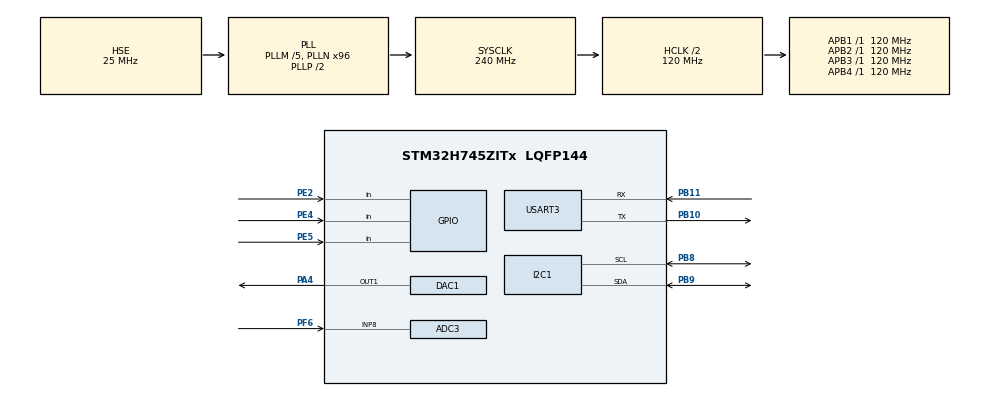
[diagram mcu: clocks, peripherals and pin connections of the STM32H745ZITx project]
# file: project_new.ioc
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ADC3.Channel-0\#ChannelRegularConversion=ADC_CHANNEL_8
ADC3.ExternalTrigConv=ADC_EXTERNALTRIG_T6_TRGO
ADC3.NbrOfConversionFlag=1
ADC3.OffsetNumber-0\#ChannelRegularConversion=ADC_OFFSET_NONE
ADC3.OffsetSignedSaturation-0\#ChannelRegularConversion=DISABLE
ADC3.Rank-0\#ChannelRegularConversion=1
ADC3.SamplingTime-0\#ChannelRegularConversion=ADC_SAMPLETIME_8CYCLES_5
CORTEX_M7.default_mode_Activation=1
CortexM4.IPs=BDMA,CORTEX_M4\:I,DMA,FATFS_M4\:I,FREERTOS_M4\:I,GPIO,IWDG2\:I,MDMA,NVIC2\:I,OPENAMP_M4\:I,PDM2PCM_M4\:I,PWR,RCC,RESMGR_UTILITY,SYS_M4\:I,USB_DEVICE_M4\:I,USB_HOST_M4\:I,VREFBUF,WWDG2\:I
CortexM7.IPs=BDMA\:I,CORTEX_M7\:I,DMA\:I,FATFS_M7\:I,FREERTOS_M7\:I,GPIO\:I,IWDG1\:I,MDMA\:I,NVIC1\:I,OPENAMP_M7\:I,PDM2PCM_M7\:I,PWR\:I,RCC\:I,RESMGR_UTILITY\:I,SYS\:I,USB_DEVICE_M7\:I,USB_HOST_M7\:I,VREFBUF\:I,WWDG1\:I,MEMORYMAP\:I,ADC3\:I,TIM6\:I,TIM7\:I,I2C1\:I,DAC1\:I,DEBUG\:I,USART3\:I
DAC1.DAC_Channel-DAC_OUT1_ExtAndInt=DAC_CHANNEL_1
DAC1.DAC_Trigger-DAC_OUT1_ExtAndInt=DAC_TRIGGER_T7_TRGO
Dma.ADC3.1.Direction=DMA_PERIPH_TO_MEMORY
Dma.ADC3.1.EventEnable=DISABLE
Dma.ADC3.1.FIFOMode=DMA_FIFOMODE_DISABLE
Dma.ADC3.1.Instance=DMA2_Stream0
Dma.ADC3.1.MemDataAlignment=DMA_MDATAALIGN_HALFWORD
Dma.ADC3.1.MemInc=DMA_MINC_ENABLE
Dma.ADC3.1.Mode=DMA_CIRCULAR
Dma.ADC3.1.PeriphDataAlignment=DMA_PDATAALIGN_HALFWORD
Dma.ADC3.1.PeriphInc=DMA_PINC_DISABLE
Dma.ADC3.1.Polarity=HAL_DMAMUX_REQ_GEN_RISING
Dma.ADC3.1.Priority=DMA_PRIORITY_HIGH
Dma.ADC3.1.RequestNumber=1
Dma.ADC3.1.SignalID=NONE
Dma.ADC3.1.SyncEnable=DISABLE
Dma.ADC3.1.SyncPolarity=HAL_DMAMUX_SYNC_NO_EVENT
Dma.ADC3.1.SyncRequestNumber=1
Dma.ADC3.1.SyncSignalID=NONE
Dma.DAC1_CH1.0.Direction=DMA_MEMORY_TO_PERIPH
Dma.DAC1_CH1.0.EventEnable=DISABLE
Dma.DAC1_CH1.0.FIFOMode=DMA_FIFOMODE_DISABLE
Dma.DAC1_CH1.0.Instance=DMA2_Stream1
Dma.DAC1_CH1.0.MemDataAlignment=DMA_MDATAALIGN_HALFWORD
Dma.DAC1_CH1.0.MemInc=DMA_MINC_ENABLE
Dma.DAC1_CH1.0.Mode=DMA_CIRCULAR
Dma.DAC1_CH1.0.PeriphDataAlignment=DMA_PDATAALIGN_HALFWORD
Dma.DAC1_CH1.0.PeriphInc=DMA_PINC_DISABLE
Dma.DAC1_CH1.0.Polarity=HAL_DMAMUX_REQ_GEN_RISING
Dma.DAC1_CH1.0.Priority=DMA_PRIORITY_HIGH
Dma.DAC1_CH1.0.RequestNumber=1
Dma.DAC1_CH1.0.SignalID=NONE
Dma.DAC1_CH1.0.SyncEnable=DISABLE
Dma.DAC1_CH1.0.SyncPolarity=HAL_DMAMUX_SYNC_NO_EVENT
Dma.DAC1_CH1.0.SyncRequestNumber=1
Dma.DAC1_CH1.0.SyncSignalID=NONE
Dma.Request0=DAC1_CH1
Dma.Request1=ADC3
I2C1.Timing=0x109093DC
Mcu.Family=STM32H7
Mcu.Name=STM32H745ZITx
Mcu.Package=LQFP144
NVIC1.DMA2_Stream0_IRQn=true\:0\:0\:false\:false\:true\:false\:true\:true
NVIC1.DMA2_Stream1_IRQn=true\:0\:0\:false\:false\:true\:false\:true\:true
NVIC1.PriorityGroup=NVIC_PRIORITYGROUP_4
NVIC2.PriorityGroup=NVIC_PRIORITYGROUP_4
PA13\ (JTMS/SWDIO).Mode=Serial_Wire
PA13\ (JTMS/SWDIO).PinAttribute=CortexM7
PA13\ (JTMS/SWDIO).Signal=DEBUG_JTMS-SWDIO
PA14\ (JTCK/SWCLK).Mode=Serial_Wire
PA14\ (JTCK/SWCLK).PinAttribute=CortexM7
PA14\ (JTCK/SWCLK).Signal=DEBUG_JTCK-SWCLK
PA4.PinAttribute=CortexM7
PA4.Signal=COMP_DAC11_group
PB10.Mode=Asynchronous
PB10.PinAttribute=CortexM7
PB10.Signal=USART3_TX
PB11.Mode=Asynchronous
PB11.PinAttribute=CortexM7
PB11.Signal=USART3_RX
PB8.Mode=I2C
PB8.PinAttribute=CortexM7
PB8.Signal=I2C1_SCL
PB9.Mode=I2C
PB9.PinAttribute=CortexM7
PB9.Signal=I2C1_SDA
PE2.GPIO_PuPd=GPIO_PULLDOWN
PE2.PinAttribute=Free
PE2.Signal=GPIO_Input
PE4.GPIO_PuPd=GPIO_PULLDOWN
PE4.PinAttribute=Free
PE4.Signal=GPIO_Input
PE5.GPIO_PuPd=GPIO_PULLDOWN
PE5.PinAttribute=Free
PE5.Signal=GPIO_Input
PF6.Mode=IN8-Single-Ended
PF6.PinAttribute=CortexM7
PF6.Signal=ADC3_INP8
PH0-OSC_IN\ (PH0).Mode=HSE-External-Oscillator
PH0-OSC_IN\ (PH0).PinAttribute=Free
PH0-OSC_IN\ (PH0).Signal=RCC_OSC_IN
PH1-OSC_OUT\ (PH1).Mode=HSE-External-Oscillator
PH1-OSC_OUT\ (PH1).PinAttribute=Free
PH1-OSC_OUT\ (PH1).Signal=RCC_OSC_OUT
ProjectManager.HeapSize=M4-0x200,M7-0x200
ProjectManager.StackSize=M4-0x400,M7-0x400
ProjectManager.TargetToolchain=STM32CubeIDE
RCC.ADCFreq_Value=75000000
RCC.APB1Freq_Value=120000000
RCC.APB2Freq_Value=120000000
RCC.APB3Freq_Value=120000000
RCC.APB4Freq_Value=120000000
RCC.CortexFreq_Value=240000000
RCC.DIVM1=5
RCC.DIVM2=2
RCC.DIVM3=2
RCC.DIVN1=96
RCC.DIVN2=12
RCC.DIVN3=12
RCC.HCLKFreq_Value=120000000
RCC.HPRE=RCC_HCLK_DIV2
RCC.I2C123CLockSelection=RCC_I2C123CLKSOURCE_PLL3
RCC.PLL2FRACN=0
RCC.PLLFRACN=0
RCC.PLLSourceVirtual=RCC_PLLSOURCE_HSE
RCC.SYSCLKFreq_VALUE=240000000
RCC.SYSCLKSource=RCC_SYSCLKSOURCE_PLLCLK
RCC.USART234578CLockSelection=RCC_USART234578CLKSOURCE_PLL2
RCC.USBFreq_Value=240000000
SH.COMP_DAC11_group.0=DAC1_OUT1,DAC_OUT1_ExtAndInt
SYS.userName=SYS_M7
TIM6.AutoReloadPreload=TIM_AUTORELOAD_PRELOAD_ENABLE
TIM6.Period=499
TIM6.Prescaler=4
TIM6.TIM_MasterOutputTrigger=TIM_TRGO_UPDATE
TIM7.AutoReloadPreload=TIM_AUTORELOAD_PRELOAD_ENABLE
TIM7.Period=191
TIM7.Prescaler=4
TIM7.TIM_MasterOutputTrigger=TIM_TRGO_UPDATE
USART3.VirtualMode-Asynchronous=VM_ASYNC
VP_MEMORYMAP_VS_MEMORYMAP.Mode=CurAppReg
VP_SYS_M4_VS_Systick.Mode=SysTick
VP_TIM6_VS_ClockSourceINT.Mode=Enable_Timer
VP_TIM7_VS_ClockSourceINT.Mode=Enable_Timer
board=custom

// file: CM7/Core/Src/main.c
/* USER CODE BEGIN Header */
/**
  ******************************************************************************
  * @file           : main.c
  * @brief          : Main program body
  ******************************************************************************
  * @attention
  *
  * Copyright (c) 2025 STMicroelectronics.
  * All rights reserved.
  *
  * This software is licensed under terms that can be found in the LICENSE file
  * in the root directory of this software component.
  * If no LICENSE file comes with this software, it is provided AS-IS.
  *
  ******************************************************************************
  */
/* USER CODE END Header */
#include "main.h"
#include "adc.h"
#include "dac.h"
#include "dma.h"
#include "i2c.h"
#include "tim.h"

#include "usart.h"
#include "gpio.h"

/* USER CODE BEGIN Includes */
#include "app_config.h"
#include "dsp_fft.h"
#include "capture_adc.h"
#include "gen_dac.h"
//#include "ssd1306_i2c.h"
//#include "ui_shell.h"
#include "OLED.h"
#include "viz.h"
//#include "buttons.h"
#include "keys.h"
#include "menu.h"
/* USER CODE END Includes */

/* USER CODE BEGIN PD */

/* DUAL_CORE_BOOT_SYNC_SEQUENCE: Define for dual core boot synchronization    */
/*                             demonstration code based on hardware semaphore */
/* This define is present in both CM7/CM4 projects                            */
/* To comment when developping/debugging on a single core                     */
#define DUAL_CORE_BOOT_SYNC_SEQUENCE

#if defined(DUAL_CORE_BOOT_SYNC_SEQUENCE)
#ifndef HSEM_ID_0
#define HSEM_ID_0 (0U) /* HW semaphore 0*/
#endif
#endif /* DUAL_CORE_BOOT_SYNC_SEQUENCE */

/* USER CODE END PD */

/* USER CODE BEGIN PV */
static float g_mag_db[APP_FFT_SIZE/2];
static float s_fout = APP_GEN_FOUT_HZ;
static float s_amp  = APP_GEN_AMP_V;
static wave_t s_wave = APP_GEN_WAVE;
static float clampf(float v, float lo, float hi){ if(v<lo) return lo; if(v>hi) return hi; return v; }
/* —— 计算 TIM6 触发频率（= ADC 采样率）——
   H7 规则：当 APB1 预分频 != 1 时，定时器内核时钟 = 2 * PCLK1 */
static float get_fs_real_from_tim6(void)
{
    uint32_t pclk1  = HAL_RCC_GetPCLK1Freq();
    uint32_t timclk = pclk1;
    if ((RCC->D2CFGR & RCC_D2CFGR_D2PPRE1) != RCC_D2CFGR_D2PPRE1_DIV1) {
        timclk *= 2;
    }
    uint32_t psc = htim6.Instance->PSC;
    uint32_t arr = htim6.Instance->ARR;
    return (float)timclk / ((psc + 1U) * (arr + 1U));
}
//static float s_spec_db[APP_FFT_SIZE/2];
//static float s_peak_hz = 0.f;
//static const uint16_t *s_half0, *s_half1;
//static uint32_t s_halflen = 0;

/* USER CODE END PV */

void SystemClock_Config(void);
void PeriphCommonClock_Config(void);
static void MPU_Config(void);

int main(void)
{

/* USER CODE BEGIN Boot_Mode_Sequence_0 */
#if defined(DUAL_CORE_BOOT_SYNC_SEQUENCE)
  int32_t timeout;
#endif /* DUAL_CORE_BOOT_SYNC_SEQUENCE */
/* USER CODE END Boot_Mode_Sequence_0 */

  /* MPU Configuration--------------------------------------------------------*/
  MPU_Config();

/* USER CODE BEGIN Boot_Mode_Sequence_1 */

/* USER CODE END Boot_Mode_Sequence_1 */
  /* MCU Configuration--------------------------------------------------------*/

  /* Reset of all peripherals, Initializes the Flash interface and the Systick. */
  HAL_Init();

  /* Configure the system clock */
  SystemClock_Config();

  /* Configure the peripherals common clocks */
  PeriphCommonClock_Config();
/* USER CODE BEGIN Boot_Mode_Sequence_2 */
#if defined(DUAL_CORE_BOOT_SYNC_SEQUENCE)
/* When system initialization is finished, Cortex-M7 will release Cortex-M4 by means of
HSEM notification */
/*HW semaphore Clock enable*/
__HAL_RCC_HSEM_CLK_ENABLE();
/*Take HSEM */
HAL_HSEM_FastTake(HSEM_ID_0);
/*Release HSEM in order to notify the CPU2(CM4)*/
HAL_HSEM_Release(HSEM_ID_0,0);
/* wait until CPU2 wakes up from stop mode */
timeout = 0xFFFF;
while((__HAL_RCC_GET_FLAG(RCC_FLAG_D2CKRDY) == RESET) && (timeout-- > 0));
if ( timeout < 0 )
{
Error_Handler();
}
#endif /* DUAL_CORE_BOOT_SYNC_SEQUENCE */
/* USER CODE END Boot_Mode_Sequence_2 */

  /* Initialize all configured peripherals */
  MX_GPIO_Init();
  MX_DMA_Init();
  MX_ADC3_Init();
  MX_DAC1_Init();
  MX_I2C1_Init();
  MX_TIM6_Init();
  MX_TIM7_Init();
  MX_USART3_UART_Init();
  /* USER CODE BEGIN 2 */
  /* 业务初始化 */
    VIZ_Init();                       // OLED 欢迎页
    DSP_Init();                       // RFFT + Hann 窗
    //BTN_Init();
    KEYS_Init();
    /* 1) 设定目标采样率并启动采集
       - 如果你就想 100 kHz，就传 100000.0f 或 APP_ADC_FS_HZ
       - 如果你想跟着菜单/按键改采样率，也把这里的值做成变量 */
    const float fs_target = APP_ADC_FS_HZ;   // 或者直接写 100000.0f
    CAP_InitAndStart(fs_target);             // TIM6→TRGO 配置+ADC3+DMA 启动
    GEN_InitAndStart(s_fout, s_amp, s_wave);
    /* 2) 读取“真实采样率”，留给 FFT/绘图使用 */
   // float fs_real = get_fs_real_from_tim6();
    //CAP_InitAndStart(APP_ADC_FS_HZ);  // 启动 ADC3 采样（TIM6→TRGO）:contentReference[oaicite:14]{index=14}
   // GEN_InitAndStart(APP_GEN_FOUT_HZ, APP_GEN_AMP_V, APP_GEN_WAVE); // 启动 DAC1 输出（TIM7→TRGO）:contentReference[oaicite:15]{index=15}
    /* 启动后，先把“当前发生器 LUT”画到整屏，直观可见输出波形 */
    ui_ctx_t ui;  MENU_SetGenParams(s_fout, s_amp, s_wave);  MENU_Init(&ui);

    const uint16_t *half0, *half1;
      uint32_t half_len;
      CAP_GetLatestFrame(&half0, &half1, &half_len); // half_len = APP_FFT_SIZE/2

  /* USER CODE END 2 */

  /* Infinite loop */
  /* USER CODE BEGIN WHILE */
  while (1)
  {
     /* ====== 按键事件 ====== */
    key_evt_t e_ok   = KEY_Get_OK();
    key_evt_t e_back = KEY_Get_BACK();
    key_evt_t e_next = KEY_Get_NEXT();
    key_evt_t e_freq = KEY_Get_FREQ();     // PC13：短按/双击 -> 调频

    /* PC13：只在“波形生成路径”（UI_HOME 选择了波形生成 → UI_WAVE_MENU）与波形已设置后有效 */
    if (e_freq == K_EVT_SHORT){
        s_fout = clampf(s_fout + STEP_FOUT_SMALL_HZ, FOUT_MIN_HZ, FOUT_MAX_HZ);
        GEN_Update(s_fout, s_amp, s_wave);
        MENU_SetGenParams(s_fout, s_amp, s_wave);
        if (ui.state == UI_HOME || ui.state == UI_WAVE_MENU) MENU_Draw(&ui);
    }else if (e_freq == K_EVT_DOUBLE){
        s_fout = clampf(s_fout - STEP_FOUT_SMALL_HZ, FOUT_MIN_HZ, FOUT_MAX_HZ);
        GEN_Update(s_fout, s_amp, s_wave);
        MENU_SetGenParams(s_fout, s_amp, s_wave);
        if (ui.state == UI_HOME || ui.state == UI_WAVE_MENU) MENU_Draw(&ui);
    }

    /* 三个功能键的 UI 状态机 */
    if (e_next == K_EVT_SHORT || e_next == K_EVT_FALLING){   // NEXT：切下一项
        switch (ui.state){
            case UI_HOME:
                ui.sel = (ui.sel+1) % 2;
                MENU_Draw(&ui);
                break;
            case UI_WAVE_MENU:
                ui.sel = (ui.sel+1) % 3;
                MENU_Draw(&ui);
                break;
            case UI_SPECTRUM:
                /* 在频谱界面按 NEXT → 查看 Top4 峰值（五级） */
                ui.state = UI_PEAKS;
                MENU_Draw(&ui);
                break;
            case UI_PEAKS:
                /* 从 Top4 返回频谱（也可改成循环切换） */
                ui.state = UI_SPECTRUM;
                MENU_Draw(&ui);
                break;
            default: break;
        }
    }

    if (e_back == K_EVT_SHORT || e_back == K_EVT_FALLING){   // BACK：返回上级
        switch (ui.state){
            case UI_HOME:      /* 顶层无上级 */ break;
            case UI_WAVE_MENU: ui.state = UI_HOME; ui.sel = 0; MENU_Draw(&ui); break;
            case UI_SPECTRUM:  ui.state = UI_HOME; ui.sel = 1; MENU_Draw(&ui); break;
            case UI_PEAKS:     ui.state = UI_SPECTRUM; MENU_Draw(&ui); break;
            default: break;
        }
    }

    if (e_ok == K_EVT_SHORT || e_ok == K_EVT_FALLING){       // OK：确认
        switch (ui.state){
            case UI_HOME:
                if (ui.sel==0){           // 进入波形菜单（四级）
                    ui.state = UI_WAVE_MENU; ui.sel = 0; MENU_Draw(&ui);
                }else{                    // 进入频谱界面（三级）
                    ui.state = UI_SPECTRUM; MENU_Draw(&ui);
                }
                break;

            case UI_WAVE_MENU: {          // 选择波形并立即生效
                wave_t w = (ui.sel==0)? W_TRI : (ui.sel==1)? W_SQUARE : W_SINE;
                s_wave = w;
                GEN_Update(s_fout, s_amp, s_wave);
                MENU_SetGenParams(s_fout, s_amp, s_wave);
                /* 生成波形后仍停留在波形菜单，或返回首页均可。这里选择停留，便于继续调整。 */
                MENU_Draw(&ui);
            } break;

            case UI_SPECTRUM:
                /* 在频谱界面按 OK：切换到 Top4 峰值 */
                ui.state = UI_PEAKS; MENU_Draw(&ui);
                break;

            case UI_PEAKS:
                /* 在 Top4 界面按 OK：返回频谱 */
                ui.state = UI_SPECTRUM; MENU_Draw(&ui);
                break;

            default: break;
        }
    }

    /* ====== 采样 → FFT → 频谱图（仅在 UI_SPECTRUM 时绘“图像”） ====== */
    uint8_t which;
    if (CAP_FetchAndClearProcessFlag(&which)) {
    	const uint16_t *cur = (which == 0) ? half0 : half1;

    	    /* 用 TIM6 的实际分频计算出真实采样率 */
    	    float fs_real = get_fs_real_from_tim6();

    	    float peak_hz = 0.f;
    	    DSP_Process_Block_u16_to_db(cur, APP_FFT_SIZE, fs_real, g_mag_db, &peak_hz);  // ← 传 fs_real

    	    /* 频谱绘制/菜单峰值页也用同一 fs */
    	    MENU_UpdateSpectrum(g_mag_db, APP_FFT_SIZE/2, fs_real);
    	    if (ui.state == UI_SPECTRUM) {
    	        VIZ_Draw_Frame(cur, half_len, g_mag_db, peak_hz, fs_real);
    	    }
    }
  }
}

void SystemClock_Config(void)
{
  RCC_OscInitTypeDef RCC_OscInitStruct = {0};
  RCC_ClkInitTypeDef RCC_ClkInitStruct = {0};

  /** Supply configuration update enable
  */
  HAL_PWREx_ConfigSupply(PWR_DIRECT_SMPS_SUPPLY);

  /** Configure the main internal regulator output voltage
  */
  __HAL_PWR_VOLTAGESCALING_CONFIG(PWR_REGULATOR_VOLTAGE_SCALE2);

  while(!__HAL_PWR_GET_FLAG(PWR_FLAG_VOSRDY)) {}

  /** Initializes the RCC Oscillators according to the specified parameters
  * in the RCC_OscInitTypeDef structure.
  */
  RCC_OscInitStruct.OscillatorType = RCC_OSCILLATORTYPE_HSE;
  RCC_OscInitStruct.HSEState = RCC_HSE_ON;
  RCC_OscInitStruct.PLL.PLLState = RCC_PLL_ON;
  RCC_OscInitStruct.PLL.PLLSource = RCC_PLLSOURCE_HSE;
  RCC_OscInitStruct.PLL.PLLM = 5;
  RCC_OscInitStruct.PLL.PLLN = 96;
  RCC_OscInitStruct.PLL.PLLP = 2;
  RCC_OscInitStruct.PLL.PLLQ = 2;
  RCC_OscInitStruct.PLL.PLLR = 2;
  RCC_OscInitStruct.PLL.PLLRGE = RCC_PLL1VCIRANGE_2;
  RCC_OscInitStruct.PLL.PLLVCOSEL = RCC_PLL1VCOWIDE;
  RCC_OscInitStruct.PLL.PLLFRACN = 0;
  if (HAL_RCC_OscConfig(&RCC_OscInitStruct) != HAL_OK)
  {
    Error_Handler();
  }

  /** Initializes the CPU, AHB and APB buses clocks
  */
  RCC_ClkInitStruct.ClockType = RCC_CLOCKTYPE_HCLK|RCC_CLOCKTYPE_SYSCLK
                              |RCC_CLOCKTYPE_PCLK1|RCC_CLOCKTYPE_PCLK2
                              |RCC_CLOCKTYPE_D3PCLK1|RCC_CLOCKTYPE_D1PCLK1;
  RCC_ClkInitStruct.SYSCLKSource = RCC_SYSCLKSOURCE_PLLCLK;
  RCC_ClkInitStruct.SYSCLKDivider = RCC_SYSCLK_DIV1;
  RCC_ClkInitStruct.AHBCLKDivider = RCC_HCLK_DIV2;
  RCC_ClkInitStruct.APB3CLKDivider = RCC_APB3_DIV1;
  RCC_ClkInitStruct.APB1CLKDivider = RCC_APB1_DIV1;
  RCC_ClkInitStruct.APB2CLKDivider = RCC_APB2_DIV1;
  RCC_ClkInitStruct.APB4CLKDivider = RCC_APB4_DIV1;

  if (HAL_RCC_ClockConfig(&RCC_ClkInitStruct, FLASH_LATENCY_2) != HAL_OK)
  {
    Error_Handler();
  }
}

void PeriphCommonClock_Config(void)
{
  RCC_PeriphCLKInitTypeDef PeriphClkInitStruct = {0};

  /** Initializes the peripherals clock
  */
  PeriphClkInitStruct.PeriphClockSelection = RCC_PERIPHCLK_ADC|RCC_PERIPHCLK_USART3;
  PeriphClkInitStruct.PLL2.PLL2M = 2;
  PeriphClkInitStruct.PLL2.PLL2N = 12;
  PeriphClkInitStruct.PLL2.PLL2P = 2;
  PeriphClkInitStruct.PLL2.PLL2Q = 2;
  PeriphClkInitStruct.PLL2.PLL2R = 2;
  PeriphClkInitStruct.PLL2.PLL2RGE = RCC_PLL2VCIRANGE_3;
  PeriphClkInitStruct.PLL2.PLL2VCOSEL = RCC_PLL2VCOMEDIUM;
  PeriphClkInitStruct.PLL2.PLL2FRACN = 0;
  PeriphClkInitStruct.Usart234578ClockSelection = RCC_USART234578CLKSOURCE_PLL2;
  PeriphClkInitStruct.AdcClockSelection = RCC_ADCCLKSOURCE_PLL2;
  if (HAL_RCCEx_PeriphCLKConfig(&PeriphClkInitStruct) != HAL_OK)
  {
    Error_Handler();
  }
}

 /* MPU Configuration */

void MPU_Config(void)
{
	MPU_Region_InitTypeDef r;

	  HAL_MPU_Disable();

	  /* Region 1: D1 AXI SRAM (0x24000000, 512KB) - Cacheable, Write-Back, Non-shareable */
	  r.Enable           = MPU_REGION_ENABLE;
	  r.Number           = MPU_REGION_NUMBER1;
	  r.BaseAddress      = 0x24000000;
	  r.Size             = MPU_REGION_SIZE_512KB;
	  r.SubRegionDisable = 0x00;
	  r.TypeExtField     = MPU_TEX_LEVEL1;
	  r.AccessPermission = MPU_REGION_FULL_ACCESS;
	  r.DisableExec      = MPU_INSTRUCTION_ACCESS_ENABLE;
	  r.IsShareable      = MPU_ACCESS_NOT_SHAREABLE;
	  r.IsCacheable      = MPU_ACCESS_CACHEABLE;
	  r.IsBufferable     = MPU_ACCESS_BUFFERABLE;
	  HAL_MPU_ConfigRegion(&r);

	  /* Region 2: D2 SRAM1/2 (0x30000000, 256KB) - Non-Cacheable, Shareable  —— 给 DMA 缓冲 */
	  r.Enable           = MPU_REGION_ENABLE;
	  r.Number           = MPU_REGION_NUMBER2;
	  r.BaseAddress      = 0x30000000;
	  r.Size             = MPU_REGION_SIZE_256KB;   // 覆盖 SRAM1+SRAM2
	  r.SubRegionDisable = 0x00;
	  r.TypeExtField     = MPU_TEX_LEVEL0;
	  r.AccessPermission = MPU_REGION_FULL_ACCESS;
	  r.DisableExec      = MPU_INSTRUCTION_ACCESS_ENABLE;
	  r.IsShareable      = MPU_ACCESS_SHAREABLE;
	  r.IsCacheable      = MPU_ACCESS_NOT_CACHEABLE;
	  r.IsBufferable     = MPU_ACCESS_NOT_BUFFERABLE;
	  HAL_MPU_ConfigRegion(&r);

	  /* (可选) Region 3: D3 SRAM4 (0x38000000, 64KB) - Cacheable */
	  r.Enable           = MPU_REGION_ENABLE;
	  r.Number           = MPU_REGION_NUMBER3;
	  r.BaseAddress      = 0x38000000;
	  r.Size             = MPU_REGION_SIZE_64KB;
	  r.SubRegionDisable = 0x00;
	  r.TypeExtField     = MPU_TEX_LEVEL1;
	  r.AccessPermission = MPU_REGION_FULL_ACCESS;
	  r.DisableExec      = MPU_INSTRUCTION_ACCESS_ENABLE;
	  r.IsShareable      = MPU_ACCESS_NOT_SHAREABLE;
	  r.IsCacheable      = MPU_ACCESS_CACHEABLE;
	  r.IsBufferable     = MPU_ACCESS_BUFFERABLE;
	  HAL_MPU_ConfigRegion(&r);

	  HAL_MPU_Enable(MPU_PRIVILEGED_DEFAULT);

	  /* 建议：紧接着开启 Cache（若你工程中未开） */
	  SCB_EnableICache();
	  SCB_EnableDCache();
}

void Error_Handler(void)
{
  __disable_irq();
  while (1)
  {
  }
}
